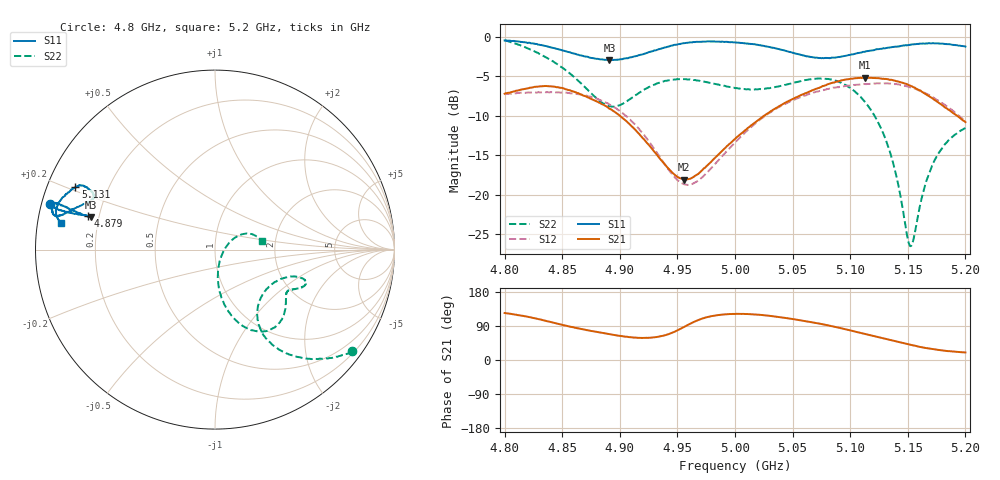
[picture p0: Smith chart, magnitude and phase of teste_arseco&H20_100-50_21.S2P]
! Network Analyzer HP8722D
! Hewlett-Packard
! Data name: Linha & Wilkinson
! Saver's name: Rodrigo Anjos
! Comments: Teste da utilização de aquisição
! continua pelo VNA HP8722D
! Time and date: 6/5/2025 12:44
!  Frequency  S11  S21  S12  S22
# HZ  S  MA R 50
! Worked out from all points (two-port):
!   401 points, 4.8 GHz to 5.2 GHz, reference 50 ohm
!   highest |S21| = -5.15 dB at 5.113 GHz (marker M1); lowest = -18.1 dB at 4.956 GHz (marker M2)
!   |S21| within 3 dB of the highest: start of sweep to 4.88 GHz; 5.046 GHz to 5.175 GHz (128.8 MHz wide, 2.52 % of centre)
!   lowest |S11| = -2.9 dB at 4.891 GHz (marker M3), VSWR 6.01, Z = 8.46 + j6.3 ohm
!   |S11| at or under -10 dB: nowhere
!   |S22| runs from -26.6 to -0.4 dB; largest |S21 - S12| = 0.71
!   S11 on the Smith chart (normalised r, x): 4.8 GHz: 0.03, +0.14; 4.879 GHz: 0.16, +0.13; 5.131 GHz: 0.08, +0.21; 5.2 GHz: 0.07, +0.09
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4.8e9  0.9519 164.5  0.4369 124.0  0.4335 19.3  0.9523 -36.6
4.833e9  0.8864 165.5  0.4877 105.3  0.4462 9.0  0.7639 -51.8
4.867e9  0.7632 165.3  0.4305 81.6  0.4306 -5.2  0.5034 -60.2
4.879e9  0.7301 165.0  0.3927 74.6  0.4101 -12.0  0.4139 -55.2
4.891e9  0.7147 165.2  0.3506 68.1  0.3733 -19.3  0.3638 -42.4
4.91e9  0.7448 165.2  0.2727 59.9  0.2933 -30.2  0.4092 -23.1
4.934e9  0.838 164.6  0.1717 61.7  0.1769 -32.6  0.5124 -18.2
4.956e9  0.915 163.5  0.1246 87.5  0.1162 -5.3  0.5407 -21.1
4.97e9  0.9334 164.3  0.1395 107.6  0.1261 18.6  0.5257 -23.5
5e9  0.9262 167.4  0.2257 121.5  0.2143 40.0  0.4746 -28.0
5.034e9  0.8538 166.0  0.3485 115.0  0.3456 36.0  0.4802 -34.7
5.067e9  0.7461 158.7  0.4596 99.5  0.4399 22.0  0.5409 -47.6
5.092e9  0.7514 155.2  0.5304 83.9  0.4855 8.1  0.514 -62.6
5.113e9  0.8098 154.2  0.5525 68.7  0.5035 -4.5  0.3865 -75.4
5.131e9  0.8521 156.0  0.543 55.6  0.5083 -15.8  0.2219 -84.1
5.134e9  0.8582 156.4  0.5359 53.5  0.5068 -17.8  0.1918 -84.5
5.141e9  0.8717 158.1  0.5237 48.6  0.5012 -22.9  0.1223 -82.1
5.15e9  0.889 160.4  0.4987 41.7  0.4855 -28.8  0.05205 -48.2
5.153e9  0.8968 160.9  0.4882 39.7  0.4783 -30.9  0.04716 -18.6
5.164e9  0.9111 163.8  0.4412 32.5  0.4443 -37.8  0.1075 29.5
5.172e9  0.9159 165.6  0.4055 28.6  0.4142 -42.1  0.1576 30.7
5.2e9  0.8706 170.1  0.2886 19.9  0.2915 -52.1  0.2644 10.2
